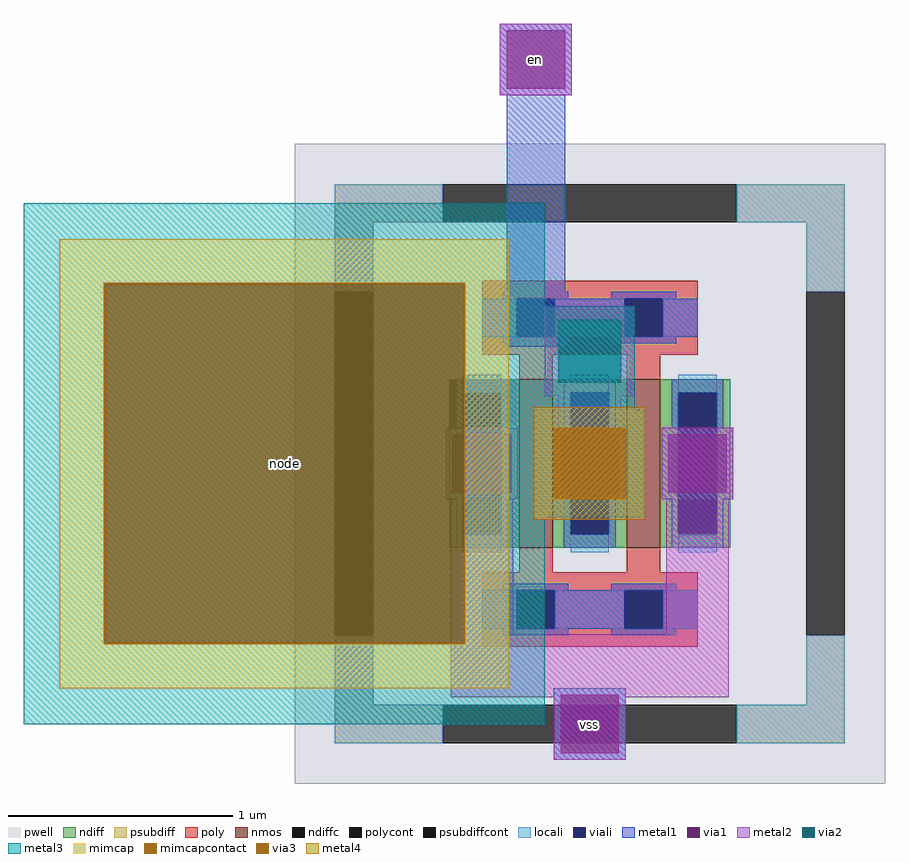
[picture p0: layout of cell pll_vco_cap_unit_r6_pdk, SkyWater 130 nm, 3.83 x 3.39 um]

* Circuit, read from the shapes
.subckt pll_vco_cap_unit_r6_pdk node en vss
XM1 n1 en vss vss sky130_fd_pr__nfet_01v8 w=0.75 l=0.15 m=2
XC2 node n1 sky130_fd_pr__cap_mim_m3_1 w=2 l=2
.ends

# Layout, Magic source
magic
tech sky130A
magscale 1 2
<< pwell >>
rect -263 -285 263 285
<< nmos >>
rect -63 -75 -33 75
rect 33 -75 63 75
<< ndiff >>
rect -125 63 -63 75
rect -125 -63 -113 63
rect -79 -63 -63 63
rect -125 -75 -63 -63
rect -33 63 33 75
rect -33 -63 -17 63
rect 17 -63 33 63
rect -33 -75 33 -63
rect 63 63 125 75
rect 63 -63 79 63
rect 113 -63 125 63
rect 63 -75 125 -63
<< ndiffc >>
rect -113 -63 -79 63
rect -17 -63 17 63
rect 79 -63 113 63
<< psubdiff >>
rect -227 215 -131 249
rect 131 215 227 249
rect -227 153 -193 215
rect 193 153 227 215
rect -227 -215 -193 -153
rect 193 -215 227 -153
rect -227 -249 -131 -215
rect 131 -249 227 -215
<< psubdiffcont >>
rect -131 215 131 249
rect -227 -153 -193 153
rect 193 -153 227 153
rect -131 -249 131 -215
<< poly >>
rect -96 147 96 163
rect -96 113 -65 147
rect -31 113 31 147
rect 65 113 96 147
rect -96 97 96 113
rect -63 75 -33 97
rect 33 75 63 97
rect -63 -97 -33 -75
rect 33 -97 63 -75
rect -96 -113 96 -97
rect -96 -147 -65 -113
rect -31 -147 31 -113
rect 65 -147 96 -113
rect -96 -163 96 -147
<< polycont >>
rect -65 113 -31 147
rect 31 113 65 147
rect -65 -147 -31 -113
rect 31 -147 65 -113
<< locali >>
rect -227 215 -131 249
rect 131 215 227 249
rect -227 153 -193 215
rect 193 153 227 215
rect -96 113 -65 147
rect -31 113 31 147
rect 65 113 96 147
rect -113 63 -79 79
rect -113 -79 -79 -63
rect -17 63 17 79
rect -17 -79 17 -63
rect 79 63 113 79
rect 79 -79 113 -63
rect -96 -147 -65 -113
rect -31 -147 31 -113
rect 65 -147 96 -113
rect -227 -215 -193 -153
rect 193 -215 227 -153
rect -227 -249 -131 -215
rect 131 -249 227 -215
<< viali >>
rect -65 113 -31 147
rect 31 113 65 147
rect -113 -63 -79 63
rect -17 -63 17 63
rect 79 -63 113 63
rect -65 -147 -31 -113
rect 31 -147 65 -113
rect -17 -249 17 -215
<< metal1 >>
rect -77 147 -19 153
rect 19 147 77 153
rect -96 113 -65 147
rect -31 113 31 147
rect 65 113 96 147
rect -77 107 -19 113
rect 19 107 77 113
rect -119 63 -73 75
rect -119 -63 -113 63
rect -79 -63 -73 63
rect -119 -75 -73 -63
rect -23 63 23 75
rect -23 -63 -17 63
rect 17 -63 23 63
rect -23 -75 23 -63
rect 73 63 119 75
rect 73 -63 79 63
rect 113 -63 119 63
rect 73 -75 119 -63
rect -77 -113 -19 -107
rect 19 -113 77 -107
rect -96 -147 -65 -113
rect -31 -147 31 -113
rect 65 -147 96 -113
rect -77 -153 -19 -147
rect 19 -153 77 -147
rect -128 -32 -64 32
rect -32 -32 32 32
rect 64 -32 128 32
rect -32 -264 32 -200
rect -32 -264 32 -200
rect -74 104 -22 386
rect -80 328 -16 392
<< metal3 >>
rect -504 -232 -40 232
rect -48 -48 48 48
rect -40 60 40 140
rect -40 -40 40 140
<< via3 >>
rect -32 -32 32 32
<< mimcap >>
rect -472 160 -72 200
rect -472 -160 -432 160
rect -112 -160 -72 160
rect -472 -200 -72 -160
<< mimcapcontact >>
rect -432 -160 -112 160
<< metal4 >>
rect -433 160 -111 161
rect -433 -160 -432 160
rect -112 -160 -111 160
rect -433 -161 -111 -160
rect -50 -50 50 50
<< via1 >>
rect -122 -26 -70 26
rect -26 -26 26 26
rect 70 -26 122 26
rect -26 -258 26 -206
rect -74 334 -22 386
<< metal2 >>
rect -128 -32 -64 32
rect -32 -32 32 32
rect 64 -32 128 32
rect -124 -208 -68 28
rect 68 -208 124 28
rect -124 -208 124 -152
rect -32 -264 32 -200
rect -28 -260 28 -152
rect -28 -28 28 128
rect -40 60 40 140
rect -80 328 -16 392
<< via2 >>
rect -28 72 28 128
<< labels >>
rlabel mimcapcontact -272 0 -272 0 0 node
port 1 nsew
rlabel metal2 -48 360 -48 360 0 en
port 2 nsew
rlabel metal2 0 -232 0 -232 0 vss
port 3 nsew
<< end >>
